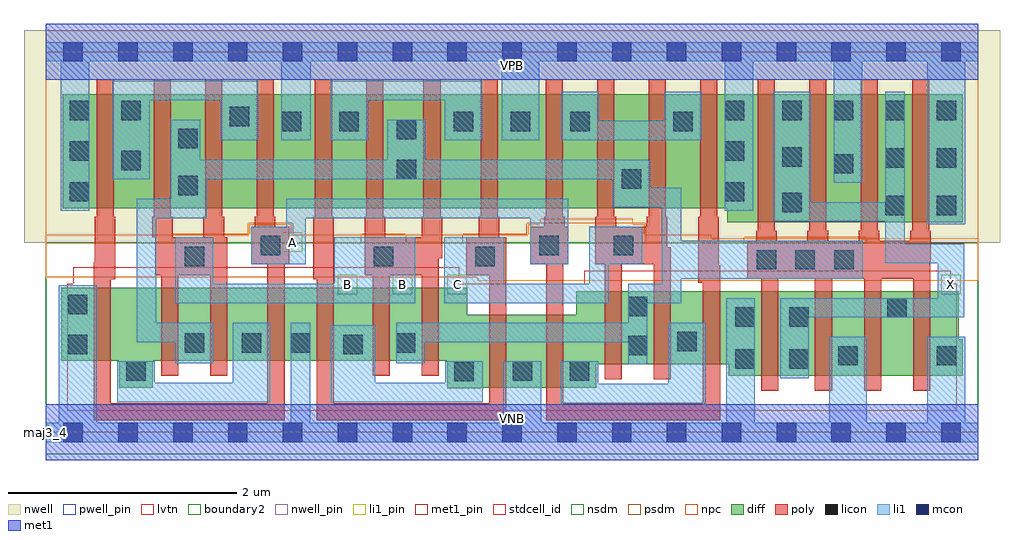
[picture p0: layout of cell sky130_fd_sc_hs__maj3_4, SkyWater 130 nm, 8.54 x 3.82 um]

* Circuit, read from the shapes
.subckt sky130_fd_sc_hs__maj3_4 A B C VGND VNB VPB VPWR X
XM1 n1 A VGND VNB sky130_fd_pr__nfet_01v8_lvt w=0.64 l=0.15 m=2
XM2 n2 B n1 VNB sky130_fd_pr__nfet_01v8_lvt w=0.64 l=0.15 m=2
XM3 n3 C VGND VNB sky130_fd_pr__nfet_01v8_lvt w=0.64 l=0.15 m=2
XM4 n2 B n3 VNB sky130_fd_pr__nfet_01v8_lvt w=0.64 l=0.15 m=2
XM5 n4 A VGND VNB sky130_fd_pr__nfet_01v8_lvt w=0.64 l=0.15 m=2
XM6 n2 C n4 VNB sky130_fd_pr__nfet_01v8_lvt w=0.64 l=0.15 m=2
XM7 X n2 VGND VNB sky130_fd_pr__nfet_01v8_lvt w=0.74 l=0.15 m=4
XM8 n5 A VPWR VPB sky130_fd_pr__pfet_01v8 w=1 l=0.15 m=2
XM9 n2 B n5 VPB sky130_fd_pr__pfet_01v8 w=1 l=0.15 m=2
XM10 n6 C VPWR VPB sky130_fd_pr__pfet_01v8 w=1 l=0.15 m=2
XM11 n2 B n6 VPB sky130_fd_pr__pfet_01v8 w=1 l=0.15 m=2
XM12 n7 A VPWR VPB sky130_fd_pr__pfet_01v8 w=1 l=0.15 m=2
XM13 n2 C n7 VPB sky130_fd_pr__pfet_01v8 w=1 l=0.15 m=2
XM14 X n2 VPWR VPB sky130_fd_pr__pfet_01v8 w=1.12 l=0.15 m=4
.ends

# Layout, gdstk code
import gdstk
lib = gdstk.Library(unit=1e-6, precision=1e-09)
def R(c, l, rs):  # rectangles x0, y0, x1, y1
    for r in rs: c.add(gdstk.rectangle(r[:2], r[2:], *l))
def A(c, l, x, y, w, h, nx, ny, dx, dy):  # array of equal rectangles
    R(c, l, [(x+i*dx, y+j*dy, x+i*dx+w, y+j*dy+h) for i in range(nx) for j in range(ny)])
def P(c, l, *ps):  # polygons
    for p in ps: c.add(gdstk.Polygon(p, *l))
nwell_pin = (64, 16)
nwell = (64, 20)
diff = (65, 20)
poly = (66, 20)
licon = (66, 44)
li1_pin = (67, 16)
li1 = (67, 20)
mcon = (67, 44)
met1_pin = (68, 16)
met1 = (68, 20)
stdcell_id = (81, 4)
nsdm = (93, 44)
psdm = (94, 20)
npc = (95, 20)
pwell_pin = (122, 16)
lvtn = (125, 44)
boundary2 = (236, 0)

sky130_fd_sc_hs__maj3_4 = lib.new_cell('sky130_fd_sc_hs__maj3_4')
R(sky130_fd_sc_hs__maj3_4, nwell_pin, [(0,3.085,8.16,3.33)])
R(sky130_fd_sc_hs__maj3_4, nwell, [(-0.19,1.66,8.35,3.52)])
P(sky130_fd_sc_hs__maj3_4, diff, [(8.025,2.96),(0.15,2.96),(0.15,1.96),(5.965,1.96),(5.965,1.84),(8.025,1.84)],
  [(8.025,0.815),(7.99,0.815),(7.99,1.235),(4.64,1.235),(4.64,1.03),(3.69,1.03),(3.69,1.265),(0.135,1.265),(0.135,0.625),(0.645,0.625),(0.645,0.39),(0.935,0.39),(0.935,0.625),(3.515,0.625),(3.515,0.385),(3.805,0.385),(3.805,0.39),(4.815,0.39),(4.815,0.595),(5.975,0.595),(5.975,0.495),(8.025,0.495)])
P(sky130_fd_sc_hs__maj3_4, poly, [(1.59,1.705),(1.56,1.705),(1.56,1.885),(1.545,1.885),(1.545,3.09),(1.395,3.09),(1.395,1.885),(1.38,1.885),(1.38,1.705),(1.11,1.705),(1.11,1.885),(1.095,1.885),(1.095,3.09),(0.945,3.09),(0.945,1.885),(0.93,1.885),(0.93,1.705),(0.96,1.705),(0.96,1.375),(1.01,1.375),(1.01,0.495),(1.16,0.495),(1.16,1.375),(1.44,1.375),(1.44,0.495),(1.59,0.495)],
  [(2.13,1.8),(2.01,1.8),(2.01,1.885),(1.995,1.885),(1.995,3.09),(1.845,3.09),(1.845,1.885),(1.83,1.885),(1.83,1.8),(1.8,1.8),(1.8,1.47),(1.94,1.47),(1.94,0.255),(0.57,0.255),(0.57,1.34),(0.61,1.34),(0.61,1.885),(0.595,1.885),(0.595,3.09),(0.445,3.09),(0.445,1.885),(0.43,1.885),(0.43,1.49),(0.42,1.49),(0.42,0.105),(2.09,0.105),(2.09,1.47),(2.13,1.47)],
  [(3.47,1.885),(3.455,1.885),(3.455,3.09),(3.305,3.09),(3.305,1.885),(3.29,1.885),(3.29,1.705),(2.97,1.705),(2.97,1.885),(2.955,1.885),(2.955,3.09),(2.805,3.09),(2.805,1.885),(2.79,1.885),(2.79,1.375),(2.86,1.375),(2.86,0.495),(3.01,0.495),(3.01,1.375),(3.29,1.375),(3.29,0.495),(3.44,0.495),(3.44,1.525),(3.47,1.525)],
  [(4.03,1.705),(3.97,1.705),(3.97,1.885),(3.955,1.885),(3.955,3.09),(3.805,3.09),(3.805,1.885),(3.79,1.885),(3.79,1.705),(3.68,1.705),(3.68,1.375),(3.88,1.375),(3.88,0.255),(2.52,0.255),(2.52,1.885),(2.505,1.885),(2.505,3.09),(2.355,3.09),(2.355,1.885),(2.34,1.885),(2.34,1.34),(2.37,1.34),(2.37,0.105),(4.03,0.105)],
  [(7.745,1.765),(7.73,1.765),(7.73,3.09),(7.58,3.09),(7.58,1.765),(7.565,1.765),(7.565,1.675),(7.295,1.675),(7.295,1.765),(7.28,1.765),(7.28,3.09),(7.13,3.09),(7.13,1.765),(7.115,1.765),(7.115,1.675),(6.845,1.675),(6.845,1.765),(6.83,1.765),(6.83,3.09),(6.68,3.09),(6.68,1.765),(6.665,1.765),(6.665,1.675),(6.395,1.675),(6.395,1.765),(6.38,1.765),(6.38,3.09),(6.23,3.09),(6.23,1.765),(6.215,1.765),(6.215,1.675),(6.14,1.675),(6.14,1.345),(6.26,1.345),(6.26,0.365),(6.41,0.365),(6.41,1.345),(6.73,1.345),(6.73,0.365),(6.88,0.365),(6.88,1.345),(7.16,1.345),(7.16,0.365),(7.31,0.365),(7.31,1.345),(7.59,1.345),(7.59,0.365),(7.74,0.365),(7.74,1.495),(7.745,1.495)],
  [(5.9,1.46),(5.89,1.46),(5.89,1.885),(5.875,1.885),(5.875,3.09),(5.725,3.09),(5.725,1.885),(5.71,1.885),(5.71,1.31),(5.75,1.31),(5.75,0.255),(4.53,0.255),(4.53,1.47),(4.57,1.47),(4.57,1.8),(4.54,1.8),(4.54,1.885),(4.525,1.885),(4.525,3.09),(4.375,3.09),(4.375,1.885),(4.36,1.885),(4.36,1.8),(4.24,1.8),(4.24,1.47),(4.38,1.47),(4.38,0.105),(5.9,0.105)],
  [(5.47,1.62),(5.44,1.62),(5.44,1.885),(5.425,1.885),(5.425,3.09),(5.275,3.09),(5.275,1.885),(5.26,1.885),(5.26,1.8),(4.99,1.8),(4.99,1.885),(4.975,1.885),(4.975,3.09),(4.825,3.09),(4.825,1.885),(4.81,1.885),(4.81,1.47),(4.89,1.47),(4.89,0.465),(5.04,0.465),(5.04,1.47),(5.32,1.47),(5.32,0.465),(5.47,0.465)])
A(sky130_fd_sc_hs__maj3_4, licon, 6.22, 1.425, 0.17, 0.17, 3, 1, 0.34, 0)
A(sky130_fd_sc_hs__maj3_4, licon, 0.21, 2.02, 0.17, 0.17, 1, 3, 0, 0.355)
A(sky130_fd_sc_hs__maj3_4, licon, 5.94, 2.02, 0.17, 0.17, 1, 3, 0, 0.355)
A(sky130_fd_sc_hs__maj3_4, licon, 6.445, 2.73, 0.17, 0.17, 4, 1, 0.45, 0)
R(sky130_fd_sc_hs__maj3_4, licon, [(3.575,0.445,3.745,0.615), (0.705,0.45,0.875,0.62), (4.085,0.45,4.255,0.62), (4.585,0.45,4.755,0.62), (6.035,0.555,6.205,0.725), (6.505,0.555,6.675,0.725), (6.935,0.585,7.105,0.755), (7.795,0.585,7.965,0.755), (5.095,0.675,5.265,0.845), (0.195,0.685,0.365,0.855), (2.605,0.685,2.775,0.855), (1.215,0.695,1.385,0.865), (1.715,0.695,1.885,0.865), (2.145,0.695,2.315,0.865), (3.065,0.695,3.235,0.865), (5.525,0.71,5.695,0.88), (6.035,0.925,6.205,1.095), (6.505,0.925,6.675,1.095), (7.365,1.005,7.535,1.175), (5.095,1.015,5.265,1.185), (0.195,1.035,0.365,1.205), (1.215,1.455,1.385,1.625), (2.87,1.455,3.04,1.625), (3.76,1.455,3.93,1.625), (1.88,1.55,2.05,1.72), (4.32,1.55,4.49,1.72), (4.97,1.55,5.14,1.72), (7.345,1.9,7.515,2.07), (7.795,1.9,7.965,2.07), (6.445,1.925,6.615,2.095), (1.16,2.075,1.33,2.245), (5.04,2.13,5.21,2.3), (3.07,2.215,3.24,2.385), (6.895,2.265,7.065,2.435), (0.66,2.295,0.83,2.465), (7.345,2.315,7.515,2.485), (7.795,2.315,7.965,2.485), (6.445,2.325,6.615,2.495), (1.16,2.485,1.33,2.655), (3.07,2.565,3.24,2.735), (2.065,2.635,2.235,2.805), (2.57,2.635,2.74,2.805), (3.57,2.635,3.74,2.805), (4.07,2.635,4.24,2.805), (4.59,2.635,4.76,2.805), (5.49,2.635,5.66,2.805), (1.61,2.68,1.78,2.85), (0.66,2.73,0.83,2.9)])
A(sky130_fd_sc_hs__maj3_4, li1_pin, 2.555, 1.21, 0.17, 0.17, 3, 1, 0.48, 0)
R(sky130_fd_sc_hs__maj3_4, li1_pin, [(7.835,1.21,8.005,1.38), (2.075,1.58,2.245,1.75)])
P(sky130_fd_sc_hs__maj3_4, li1, [(2.495,0.265),(2.495,0.935),(2.885,0.935),(2.885,0.435),(3.495,0.435),(3.495,0.62),(3.825,0.62),(3.825,0.265)],
  [(0.13,1.94),(0.13,3.245),(0,3.245),(0,3.415),(8.16,3.415),(8.16,3.245),(8.045,3.245),(8.045,1.82),(7.715,1.82),(7.715,3.245),(7.145,3.245),(7.145,2.185),(6.895,2.185),(6.895,3.245),(6.19,3.245),(6.19,1.94),(5.94,1.94),(5.94,3.245),(4.32,3.245),(4.32,2.555),(3.99,2.555),(3.99,3.245),(2.32,3.245),(2.32,2.555),(2.06,2.555),(2.06,3.245),(0.38,3.245),(0.38,1.94)],
  [(7.715,0.085),(7.715,0.835),(8.045,0.835),(8.045,0.085),(8.16,0.085),(8.16,-0.085),(0,-0.085),(0,0.085),(0.115,0.085),(0.115,1.285),(0.445,1.285),(0.445,0.085),(2.145,0.085),(2.145,0.96),(2.315,0.96),(2.315,0.085),(4.005,0.085),(4.005,0.62),(4.335,0.62),(4.335,0.085),(5.955,0.085),(5.955,1.175),(6.205,1.175),(6.205,0.085),(6.855,0.085),(6.855,0.835),(7.185,0.835),(7.185,0.085)],
  [(7.15,1.675),(5.56,1.675),(5.56,2.14),(5.29,2.14),(5.29,2.385),(3.32,2.385),(3.32,2.735),(2.99,2.735),(2.99,2.385),(1.35,2.385),(1.35,2.735),(1.095,2.735),(1.095,2.045),(0.795,2.045),(0.795,0.79),(1.135,0.79),(1.135,0.605),(1.465,0.605),(1.465,0.96),(0.965,0.96),(0.965,1.875),(1.41,1.875),(1.41,2.215),(4.96,2.215),(4.96,1.97),(5.39,1.97),(5.39,1.3),(5.095,1.3),(5.095,0.96),(3.065,0.96),(3.065,0.605),(3.315,0.605),(3.315,0.79),(5.095,0.79),(5.095,0.595),(5.265,0.595),(5.265,1.13),(5.56,1.13),(5.56,1.345),(7.15,1.345)],
  [(2.105,2.045),(4.57,2.045),(4.57,1.47),(4.24,1.47),(4.24,1.875),(2.275,1.875),(2.275,1.47),(1.8,1.47),(1.8,1.8),(2.105,1.8)],
  [(4.01,1.3),(4.755,1.3),(4.755,1.8),(5.22,1.8),(5.22,1.47),(4.925,1.47),(4.925,1.13),(3.485,1.13),(3.485,1.705),(4.01,1.705)],
  [(1.465,1.3),(2.525,1.3),(2.525,1.705),(3.235,1.705),(3.235,1.13),(1.135,1.13),(1.135,1.705),(1.465,1.705)],
  [(5.445,0.425),(5.445,0.96),(5.775,0.96),(5.775,0.255),(4.505,0.255),(4.505,0.62),(4.835,0.62),(4.835,0.425)],
  [(1.635,0.435),(1.635,0.96),(1.965,0.96),(1.965,0.265),(0.625,0.265),(0.625,0.62),(0.955,0.62),(0.955,0.435)],
  [(7.345,1.48),(7.345,1.845),(6.365,1.845),(6.365,2.98),(6.695,2.98),(6.695,2.015),(7.345,2.015),(7.345,2.98),(7.515,2.98),(7.515,1.65),(8.035,1.65),(8.035,1.005),(6.675,1.005),(6.675,0.475),(6.425,0.475),(6.425,1.175),(7.805,1.175),(7.805,1.48)],
  [(5.41,2.725),(5.41,2.98),(5.74,2.98),(5.74,2.555),(4.51,2.555),(4.51,2.98),(4.84,2.98),(4.84,2.725)],
  [(3.49,2.555),(3.49,2.905),(2.82,2.905),(2.82,2.555),(2.49,2.555),(2.49,3.075),(3.82,3.075),(3.82,2.555)],
  [(1.86,3.075),(0.58,3.075),(0.58,2.215),(0.91,2.215),(0.91,2.905),(1.53,2.905),(1.53,2.555),(1.86,2.555)])
A(sky130_fd_sc_hs__maj3_4, mcon, 0.155, -0.085, 0.17, 0.17, 17, 2, 0.48, 3.33)
R(sky130_fd_sc_hs__maj3_4, met1_pin, [(0,0,8.16,0.245), (0,3.085,8.16,3.33)])
R(sky130_fd_sc_hs__maj3_4, met1, [(0,-0.245,8.16,0.245), (0,3.085,8.16,3.575)])
R(sky130_fd_sc_hs__maj3_4, stdcell_id, [(0,0,8.16,3.33)])
R(sky130_fd_sc_hs__maj3_4, nsdm, [(0,-0.19,8.16,1.66)])
P(sky130_fd_sc_hs__maj3_4, psdm, [(8.16,3.52),(0,3.52),(0,1.66),(1.105,1.66),(1.105,1.735),(1.77,1.735),(1.77,1.83),(2.16,1.83),(2.16,1.66),(2.76,1.66),(2.76,1.735),(3.15,1.735),(3.15,1.66),(3.65,1.66),(3.65,1.735),(4.21,1.735),(4.21,1.83),(5.25,1.83),(5.25,1.66),(6.11,1.66),(6.11,1.705),(7.18,1.705),(7.18,1.66),(8.16,1.66)])
P(sky130_fd_sc_hs__maj3_4, npc, [(8.16,1.7),(5.825,1.7),(5.825,1.73),(5.24,1.73),(5.24,1.82),(5.135,1.82),(5.135,1.87),(4.325,1.87),(4.325,1.82),(4.22,1.82),(4.22,1.73),(2.15,1.73),(2.15,1.82),(1.78,1.82),(1.78,1.73),(0,1.73),(0,1.355),(3.78,1.355),(3.78,1.325),(8.16,1.325)])
R(sky130_fd_sc_hs__maj3_4, pwell_pin, [(0,0,8.16,0.245)])
P(sky130_fd_sc_hs__maj3_4, lvtn, [(7.97,1.3),(7.92,1.3),(7.92,1.415),(4.71,1.415),(4.71,1.3),(3.62,1.3),(3.62,1.445),(0.24,1.445),(0.24,1.3),(0.19,1.3),(0.19,0.19),(7.97,0.19)])
R(sky130_fd_sc_hs__maj3_4, boundary2, [(0,0,8.16,3.33)])
sky130_fd_sc_hs__maj3_4.add(gdstk.Label('maj3_4', (0,0), layer=83, texttype=44))
sky130_fd_sc_hs__maj3_4.add(gdstk.Label('VNB', (4.08,0.123), layer=64, texttype=59))
sky130_fd_sc_hs__maj3_4.add(gdstk.Label('VPB', (4.08,3.208), layer=64, texttype=5))
sky130_fd_sc_hs__maj3_4.add(gdstk.Label('VPWR', (4.08,3.208), layer=68, texttype=5))
sky130_fd_sc_hs__maj3_4.add(gdstk.Label('VGND', (4.08,0.123), layer=68, texttype=5))
sky130_fd_sc_hs__maj3_4.add(gdstk.Label('C', (3.6,1.295), layer=67, texttype=5))
sky130_fd_sc_hs__maj3_4.add(gdstk.Label('B', (2.64,1.295), layer=67, texttype=5))
sky130_fd_sc_hs__maj3_4.add(gdstk.Label('B', (3.12,1.295), layer=67, texttype=5))
sky130_fd_sc_hs__maj3_4.add(gdstk.Label('X', (7.92,1.295), layer=67, texttype=5))
sky130_fd_sc_hs__maj3_4.add(gdstk.Label('A', (2.16,1.665), layer=67, texttype=5))

lib.write_gds('sky130_fd_sc_hs__maj3_4.gds')
